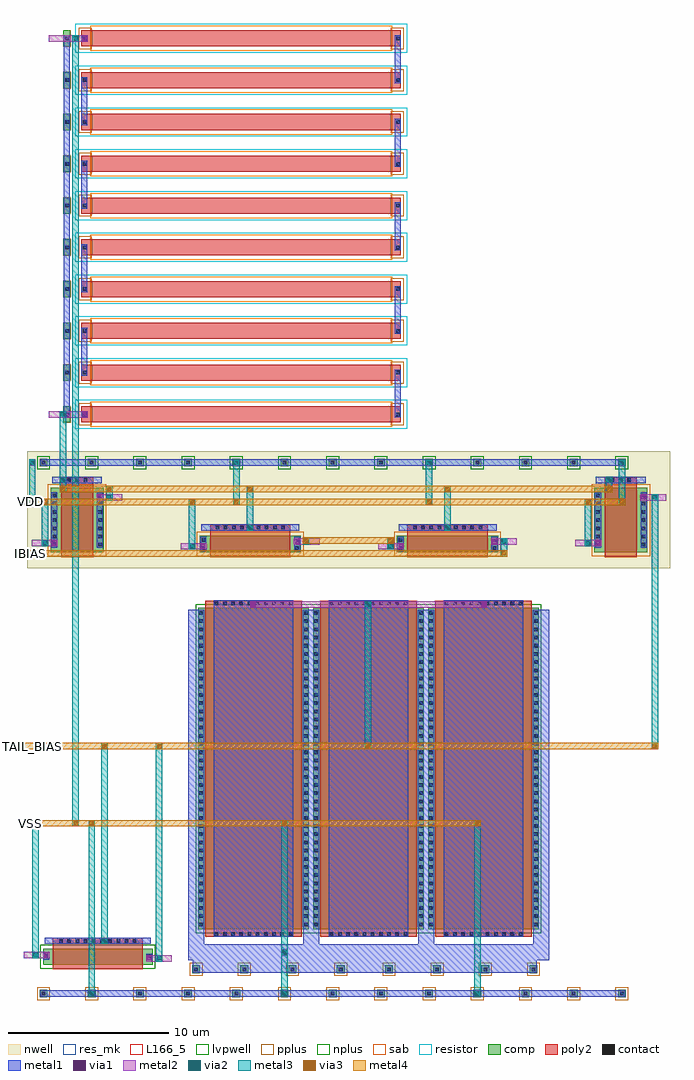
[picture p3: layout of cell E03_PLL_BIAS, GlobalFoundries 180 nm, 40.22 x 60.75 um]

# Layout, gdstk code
import gdstk
lib = gdstk.Library(unit=1e-6, precision=1e-09)
def R(c, l, rs):  # rectangles x0, y0, x1, y1
    for r in rs: c.add(gdstk.rectangle(r[:2], r[2:], *l))
def A(c, l, x, y, w, h, nx, ny, dx, dy):  # array of equal rectangles
    R(c, l, [(x+i*dx, y+j*dy, x+i*dx+w, y+j*dy+h) for i in range(nx) for j in range(ny)])
def P(c, l, *ps):  # polygons
    for p in ps: c.add(gdstk.Polygon(p, *l))
nwell = (21, 0)
comp = (22, 0)
poly2 = (30, 0)
pplus = (31, 0)
nplus = (32, 0)
contact = (33, 0)
metal1 = (34, 0)
via1 = (35, 0)
metal2 = (36, 0)
via2 = (38, 0)
via3 = (40, 0)
metal3 = (42, 0)
metal4 = (46, 0)
sab = (49, 0)
resistor = (62, 0)
res_mk = (110, 5)
L166_5 = (166, 5)
lvpwell = (204, 0)

e03_tap_sub_3 = lib.new_cell('E03_TAP_SUB$3')
R(e03_tap_sub_3, comp, [(-0.24,-0.24,0.24,0.24)])
R(e03_tap_sub_3, pplus, [(-0.4,-0.4,0.4,0.4)])
R(e03_tap_sub_3, contact, [(-0.11,-0.11,0.11,0.11)])
R(e03_tap_sub_3, metal1, [(-0.2,-0.2,0.2,0.2)])

e03_nfet_w1_l5p6_nf1_top = lib.new_cell('E03_NFET_W1_L5p6_NF1_top')
R(e03_nfet_w1_l5p6_nf1_top, comp, [(-0.42,0,6.4,1)])
R(e03_nfet_w1_l5p6_nf1_top, poly2, [(0.19,-0.3,5.79,1.66)])
R(e03_nfet_w1_l5p6_nf1_top, nplus, [(-0.59,-0.24,6.57,1.24)])
A(e03_nfet_w1_l5p6_nf1_top, contact, 0.585, 1.37, 0.22, 0.22, 10, 1, 0.51, 0)
R(e03_nfet_w1_l5p6_nf1_top, contact, [(-0.32,0.39,-0.1,0.61), (6.08,0.39,6.3,0.61)])
R(e03_nfet_w1_l5p6_nf1_top, metal1, [(-0.4,0.31,-0.02,0.69), (6,0.31,6.38,0.69), (0.505,1.29,5.475,1.67)])

e03_moscap_l6_w20 = lib.new_cell('E03_MOSCAP_L6_W20')
R(e03_moscap_l6_w20, comp, [(0,0,6.88,20)])
R(e03_moscap_l6_w20, poly2, [(0.44,-0.46,6.44,20.46)])
R(e03_moscap_l6_w20, nplus, [(-0.16,-0.23,7.04,20.23)])
A(e03_moscap_l6_w20, contact, 1.035, -0.39, 0.22, 0.22, 10, 2, 0.51, 20.56)
A(e03_moscap_l6_w20, contact, 0.07, 0.2, 0.22, 0.22, 1, 39, 0, 0.51)
A(e03_moscap_l6_w20, contact, 6.59, 0.2, 0.22, 0.22, 1, 39, 0, 0.51)
R(e03_moscap_l6_w20, metal1, [(0.955,-0.47,5.925,20.47)])
P(e03_moscap_l6_w20, metal1, [(-0.63,-1.94),(-0.63,19.88),(0.37,19.88),(0.37,-0.94),(6.53,-0.94),(6.53,0.12),(6.51,0.12),(6.51,19.88),(7.53,19.88),(7.53,-1.94)])
R(e03_moscap_l6_w20, L166_5, [(0,0,6.88,20)])
R(e03_moscap_l6_w20, lvpwell, [(0,0,6.88,20)])

e03_pfet_w4_l2_nf1_top = lib.new_cell('E03_PFET_W4_L2_NF1_top')
R(e03_pfet_w4_l2_nf1_top, nwell, [(-0.9,-0.44,3.28,4.44)])
R(e03_pfet_w4_l2_nf1_top, comp, [(-0.46,0,2.84,4)])
R(e03_pfet_w4_l2_nf1_top, poly2, [(0.19,-0.3,2.19,4.68)])
R(e03_pfet_w4_l2_nf1_top, pplus, [(-0.63,-0.24,3.01,4.24)])
A(e03_pfet_w4_l2_nf1_top, contact, -0.34, 0.36, 0.22, 0.22, 1, 7, 0, 0.51)
A(e03_pfet_w4_l2_nf1_top, contact, 2.5, 0.36, 0.22, 0.22, 1, 7, 0, 0.51)
A(e03_pfet_w4_l2_nf1_top, contact, 0.57, 4.38, 0.22, 0.22, 3, 1, 0.51, 0)
R(e03_pfet_w4_l2_nf1_top, metal1, [(-0.42,0.28,-0.04,3.72), (2.42,0.28,2.8,3.72), (0.49,4.3,1.89,4.68)])

e03_pfet_w1p04_l5_nf1_to = lib.new_cell('E03_PFET_W1p04_L5_NF1_top')
R(e03_pfet_w1p04_l5_nf1_to, nwell, [(-0.9,-0.44,6.28,1.48)])
R(e03_pfet_w1p04_l5_nf1_to, comp, [(-0.46,0,5.84,1.04)])
R(e03_pfet_w1p04_l5_nf1_to, poly2, [(0.19,-0.3,5.19,1.72)])
R(e03_pfet_w1p04_l5_nf1_to, pplus, [(-0.63,-0.24,6.01,1.28)])
A(e03_pfet_w1p04_l5_nf1_to, contact, 0.54, 1.42, 0.22, 0.22, 9, 1, 0.51, 0)
R(e03_pfet_w1p04_l5_nf1_to, contact, [(-0.34,0.155,-0.12,0.375), (5.5,0.155,5.72,0.375), (-0.34,0.665,-0.12,0.885), (5.5,0.665,5.72,0.885)])
R(e03_pfet_w1p04_l5_nf1_to, metal1, [(-0.42,0.075,-0.04,0.965), (5.42,0.075,5.8,0.965), (0.46,1.34,4.92,1.72)])

e03_tap_nw_2 = lib.new_cell('E03_TAP_NW$2')
R(e03_tap_nw_2, nwell, [(-0.5,-0.5,0.5,0.5)])
R(e03_tap_nw_2, comp, [(-0.24,-0.24,0.24,0.24)])
R(e03_tap_nw_2, nplus, [(-0.4,-0.4,0.4,0.4)])
R(e03_tap_nw_2, contact, [(-0.11,-0.11,0.11,0.11)])
R(e03_tap_nw_2, metal1, [(-0.2,-0.2,0.2,0.2)])

e03_rhr_w1_l18p6 = lib.new_cell('E03_RHR_W1_L18p6')
R(e03_rhr_w1_l18p6, comp, [(-1.76,0,-1.34,1)])
R(e03_rhr_w1_l18p6, poly2, [(-0.64,0,19.24,1)])
R(e03_rhr_w1_l18p6, pplus, [(-0.82,-0.18,0,1.18), (18.6,-0.18,19.42,1.18), (-1.78,-0.02,-1.32,1.02)])
R(e03_rhr_w1_l18p6, contact, [(-1.66,0.39,-1.44,0.61), (-0.57,0.39,-0.35,0.61), (18.95,0.39,19.17,0.61)])
R(e03_rhr_w1_l18p6, metal1, [(-1.74,0.31,-1.36,0.69), (-0.65,0.31,-0.27,0.69), (18.87,0.31,19.25,0.69)])
R(e03_rhr_w1_l18p6, sab, [(-0.1,-0.28,18.7,1.28)])
R(e03_rhr_w1_l18p6, resistor, [(-1.04,-0.4,19.64,1.4)])
R(e03_rhr_w1_l18p6, res_mk, [(0,0,18.6,1)])

e03_pll_bias = lib.new_cell('E03_PLL_BIAS')
R(e03_pll_bias, nwell, [(0,27.67,40,34.95)])
A(e03_pll_bias, metal1, 3.8, 1, 0.4, 0.4, 3, 1, 12, 0)
A(e03_pll_bias, metal1, 13.87, 25.22, 0.4, 0.4, 3, 1, 7.16, 0)
A(e03_pll_bias, metal1, 12.8, 34.05, 0.4, 0.4, 3, 1, 12, 0)
A(e03_pll_bias, metal1, 22.87, 37.06, 0.38, 2.98, 1, 5, 0, 5.2)
A(e03_pll_bias, metal1, 3.35, 39.66, 0.38, 2.98, 1, 4, 0, 5.2)
R(e03_pll_bias, metal1, [(0.8,1,37.2,1.4), (10.3,2.51,31.7,2.91), (10.3,2.71,31.7,3.31), (7.38,3.19,7.78,3.59), (0.98,3.41,1.38,3.81), (15.8,3.56,16.2,3.96), (1.07,4.29,7.69,4.69), (4.6,4.29,5,4.69), (10.75,28.845,11.15,29.245), (23.03,28.845,23.43,29.245), (1.47,29.05,1.87,29.45), (35.31,29.05,35.71,29.45), (16.59,29.135,16.99,29.535), (28.87,29.135,29.27,29.535), (10.82,30.01,16.92,30.41), (13.65,30.01,14.05,30.41), (23.1,30.01,29.2,30.41), (25.95,30.01,26.35,30.41), (4.31,31.89,4.71,32.29), (38.15,31.89,38.55,32.29), (1.54,32.97,4.64,33.37), (2,32.97,2.4,33.37), (35.38,32.97,38.48,33.37), (36,32.97,36.4,33.37), (0.1,34.05,0.5,34.45), (0.8,34.05,37.2,34.45), (2.26,37.06,2.64,60.84)])
A(e03_pll_bias, via1, 3.87, 1.07, 0.26, 0.26, 3, 1, 12, 0)
A(e03_pll_bias, via1, 13.94, 25.29, 0.26, 0.26, 3, 1, 7.16, 0)
A(e03_pll_bias, via1, 12.87, 34.12, 0.26, 0.26, 3, 1, 12, 0)
R(e03_pll_bias, via1, [(7.45,3.26,7.71,3.52), (1.05,3.48,1.31,3.74), (15.87,3.63,16.13,3.89), (4.67,4.36,4.93,4.62), (10.82,28.915,11.08,29.175), (23.1,28.915,23.36,29.175), (1.54,29.12,1.8,29.38), (35.38,29.12,35.64,29.38), (16.66,29.205,16.92,29.465), (28.94,29.205,29.2,29.465), (13.72,30.08,13.98,30.34), (26.02,30.08,26.28,30.34), (4.38,31.96,4.64,32.22), (38.22,31.96,38.48,32.22), (2.07,33.04,2.33,33.3), (36.07,33.04,36.33,33.3), (0.17,34.12,0.43,34.38), (3.41,37.12,3.67,37.38), (3.41,60.52,3.67,60.78)])
A(e03_pll_bias, metal2, 3.8, 1, 0.4, 0.4, 3, 1, 12, 0)
A(e03_pll_bias, metal2, 12.8, 34.05, 0.4, 0.4, 3, 1, 12, 0)
R(e03_pll_bias, metal2, [(7.38,3.19,8.98,3.59), (8,3.19,8.4,3.59), (-0.22,3.41,1.38,3.81), (0.3,3.41,0.7,3.81), (15.8,3.56,16.2,3.96), (4.6,4.29,5,4.69), (13.87,25.22,28.59,25.62), (21,25.22,21.4,25.62), (9.55,28.845,11.15,29.245), (10.05,28.845,10.45,29.245), (21.83,28.845,23.43,29.245), (22.4,28.845,22.8,29.245), (0.27,29.05,1.87,29.45), (0.9,29.05,1.3,29.45), (34.11,29.05,35.71,29.45), (34.7,29.05,35.1,29.45), (16.59,29.135,18.19,29.535), (17.15,29.135,17.55,29.535), (28.87,29.135,30.47,29.535), (29.45,29.135,29.85,29.535), (13.65,30.01,14.05,30.41), (25.95,30.01,26.35,30.41), (4.31,31.89,5.91,32.29), (4.9,31.89,5.3,32.29), (38.15,31.89,39.75,32.29), (38.85,31.89,39.25,32.29), (2,32.97,2.4,33.37), (36,32.97,36.4,33.37), (0.1,34.05,0.5,34.45), (1.34,37.05,3.74,37.45), (2,37.05,2.4,37.45), (1.34,60.45,3.74,60.85), (2.8,60.45,3.2,60.85)])
A(e03_pll_bias, via2, 3.87, 1.07, 0.26, 0.26, 3, 1, 12, 0)
A(e03_pll_bias, via2, 12.87, 34.12, 0.26, 0.26, 3, 1, 12, 0)
R(e03_pll_bias, via2, [(8.07,3.26,8.33,3.52), (0.37,3.48,0.63,3.74), (15.87,3.63,16.13,3.89), (4.67,4.36,4.93,4.62), (21.07,25.29,21.33,25.55), (10.12,28.915,10.38,29.175), (22.47,28.915,22.73,29.175), (0.97,29.12,1.23,29.38), (34.77,29.12,35.03,29.38), (17.22,29.205,17.48,29.465), (29.52,29.205,29.78,29.465), (13.72,30.08,13.98,30.34), (26.02,30.08,26.28,30.34), (4.97,31.96,5.23,32.22), (38.92,31.96,39.18,32.22), (2.07,33.04,2.33,33.3), (36.07,33.04,36.33,33.3), (0.17,34.12,0.43,34.38), (2.07,37.12,2.33,37.38), (2.87,60.52,3.13,60.78)])
R(e03_pll_bias, via3, [(0.37,11.67,0.63,11.93), (2.87,11.67,3.13,11.93), (3.87,11.67,4.13,11.93), (15.87,11.67,16.13,11.93), (15.87,11.67,16.13,11.93), (27.87,11.67,28.13,11.93), (4.67,16.47,4.93,16.73), (8.07,16.47,8.33,16.73), (21.07,16.47,21.33,16.73), (38.92,16.47,39.18,16.73), (29.52,28.47,29.78,28.73), (17.22,29.27,17.48,29.53), (22.47,29.27,22.73,29.53), (0.17,31.67,0.43,31.93), (0.97,31.67,1.23,31.93), (10.12,31.67,10.38,31.93), (12.87,31.67,13.13,31.93), (24.87,31.67,25.13,31.93), (34.77,31.67,35.03,31.93), (36.87,31.67,37.13,31.93), (2.07,32.47,2.33,32.73), (2.07,32.47,2.33,32.73), (4.97,32.47,5.23,32.73), (13.72,32.47,13.98,32.73), (26.02,32.47,26.28,32.73), (36.07,32.47,36.33,32.73)])
A(e03_pll_bias, metal3, 3.8, 1, 0.4, 0.4, 3, 1, 12, 0)
A(e03_pll_bias, metal3, 3.8, 1, 0.4, 11, 3, 1, 12, 0)
A(e03_pll_bias, metal3, 12.8, 31.6, 0.4, 2.85, 3, 1, 12, 0)
A(e03_pll_bias, metal3, 12.8, 34.05, 0.4, 0.4, 3, 1, 12, 0)
R(e03_pll_bias, metal3, [(8,3.19,8.4,3.59), (8,3.19,8.4,16.8), (0.3,3.41,0.7,3.81), (0.3,3.41,0.7,12), (15.8,3.56,16.2,3.96), (15.8,3.56,16.2,12), (4.6,4.29,5,4.69), (4.6,4.29,5,16.8), (0.3,11.6,0.7,12), (2.8,11.6,3.2,12), (2.8,11.6,3.2,60.85), (3.8,11.6,4.2,12), (15.8,11.6,16.2,12), (15.8,11.6,16.2,12), (27.8,11.6,28.2,12), (4.6,16.4,5,16.8), (8,16.4,8.4,16.8), (21,16.4,21.4,16.8), (21,16.4,21.4,25.62), (38.85,16.4,39.25,16.8), (38.85,16.4,39.25,32.29), (21,25.22,21.4,25.62), (29.45,28.4,29.85,28.8), (29.45,28.4,29.85,29.535), (10.05,28.845,10.45,29.245), (10.05,28.845,10.45,32), (22.4,28.845,22.8,29.245), (22.4,28.845,22.8,29.6), (0.9,29.05,1.3,29.45), (0.9,29.05,1.3,32), (34.7,29.05,35.1,29.45), (34.7,29.05,35.1,32), (17.15,29.135,17.55,29.535), (17.15,29.135,17.55,29.6), (29.45,29.135,29.85,29.535), (17.15,29.2,17.55,29.6), (22.4,29.2,22.8,29.6), (13.65,30.01,14.05,30.41), (13.65,30.01,14.05,32.8), (25.95,30.01,26.35,30.41), (25.95,30.01,26.35,32.8), (0.1,31.6,0.5,32), (0.1,31.6,0.5,34.45), (0.9,31.6,1.3,32), (10.05,31.6,10.45,32), (12.8,31.6,13.2,32), (24.8,31.6,25.2,32), (34.7,31.6,35.1,32), (36.8,31.6,37.2,32), (4.9,31.89,5.3,32.29), (4.9,31.89,5.3,32.8), (38.85,31.89,39.25,32.29), (2,32.4,2.4,32.8), (2,32.4,2.4,32.8), (2,32.4,2.4,33.37), (2,32.4,2.4,37.45), (4.9,32.4,5.3,32.8), (13.65,32.4,14.05,32.8), (25.95,32.4,26.35,32.8), (36,32.4,36.4,32.8), (36,32.4,36.4,33.37), (2,32.97,2.4,33.37), (36,32.97,36.4,33.37), (0.1,34.05,0.5,34.45), (2,37.05,2.4,37.45), (2.8,60.45,3.2,60.85)])
R(e03_pll_bias, metal4, [(-0.2,11.6,28.2,12), (0.3,11.6,0.7,12), (2.8,11.6,3.2,12), (3.8,11.6,4.2,12), (15.8,11.6,16.2,12), (15.8,11.6,16.2,12), (27.8,11.6,28.2,12), (-0.2,16.4,39.25,16.8), (4.6,16.4,5,16.8), (8,16.4,8.4,16.8), (21,16.4,21.4,16.8), (38.85,16.4,39.25,16.8), (-0.2,28.4,29.85,28.8), (29.45,28.4,29.85,28.8), (17.15,29.2,17.55,29.6), (17.15,29.2,22.8,29.6), (22.4,29.2,22.8,29.6), (-0.2,31.6,37.2,32), (0.1,31.6,0.5,32), (0.9,31.6,1.3,32), (10.05,31.6,10.45,32), (12.8,31.6,13.2,32), (24.8,31.6,25.2,32), (34.7,31.6,35.1,32), (36.8,31.6,37.2,32), (2,32.4,2.4,32.8), (2,32.4,2.4,32.8), (2,32.4,36.4,32.8), (4.9,32.4,5.3,32.8), (13.65,32.4,14.05,32.8), (25.95,32.4,26.35,32.8), (36,32.4,36.4,32.8)])
e03_pll_bias.add(gdstk.Reference(e03_tap_sub_3, (1,1.2)))
e03_pll_bias.add(gdstk.Reference(e03_tap_sub_3, (4,1.2)))
e03_pll_bias.add(gdstk.Reference(e03_tap_sub_3, (7,1.2)))
e03_pll_bias.add(gdstk.Reference(e03_tap_sub_3, (10,1.2)))
e03_pll_bias.add(gdstk.Reference(e03_tap_sub_3, (13,1.2)))
e03_pll_bias.add(gdstk.Reference(e03_tap_sub_3, (16,1.2)))
e03_pll_bias.add(gdstk.Reference(e03_tap_sub_3, (19,1.2)))
e03_pll_bias.add(gdstk.Reference(e03_tap_sub_3, (22,1.2)))
e03_pll_bias.add(gdstk.Reference(e03_tap_sub_3, (25,1.2)))
e03_pll_bias.add(gdstk.Reference(e03_tap_sub_3, (28,1.2)))
e03_pll_bias.add(gdstk.Reference(e03_tap_sub_3, (31,1.2)))
e03_pll_bias.add(gdstk.Reference(e03_tap_sub_3, (34,1.2)))
e03_pll_bias.add(gdstk.Reference(e03_tap_sub_3, (37,1.2)))
e03_pll_bias.add(gdstk.Reference(e03_nfet_w1_l5p6_nf1_top, (1.39,3)))
e03_pll_bias.add(gdstk.Reference(e03_moscap_l6_w20, (10.63,5.2)))
e03_pll_bias.add(gdstk.Reference(e03_moscap_l6_w20, (17.79,5.2)))
e03_pll_bias.add(gdstk.Reference(e03_moscap_l6_w20, (24.95,5.2)))
e03_pll_bias.add(gdstk.Reference(e03_tap_sub_3, (10.5,2.71)))
e03_pll_bias.add(gdstk.Reference(e03_tap_sub_3, (13.5,2.71)))
e03_pll_bias.add(gdstk.Reference(e03_tap_sub_3, (16.5,2.71)))
e03_pll_bias.add(gdstk.Reference(e03_tap_sub_3, (19.5,2.71)))
e03_pll_bias.add(gdstk.Reference(e03_tap_sub_3, (22.5,2.71)))
e03_pll_bias.add(gdstk.Reference(e03_tap_sub_3, (25.5,2.71)))
e03_pll_bias.add(gdstk.Reference(e03_tap_sub_3, (28.5,2.71)))
e03_pll_bias.add(gdstk.Reference(e03_tap_sub_3, (31.5,2.71)))
e03_pll_bias.add(gdstk.Reference(e03_pfet_w4_l2_nf1_top, (1.9,28.67)))
e03_pll_bias.add(gdstk.Reference(e03_pfet_w1p04_l5_nf1_to, (11.18,28.67)))
e03_pll_bias.add(gdstk.Reference(e03_pfet_w1p04_l5_nf1_to, (23.46,28.67)))
e03_pll_bias.add(gdstk.Reference(e03_pfet_w4_l2_nf1_top, (35.74,28.67)))
e03_pll_bias.add(gdstk.Reference(e03_tap_nw_2, (1,34.25)))
e03_pll_bias.add(gdstk.Reference(e03_tap_nw_2, (4,34.25)))
e03_pll_bias.add(gdstk.Reference(e03_tap_nw_2, (7,34.25)))
e03_pll_bias.add(gdstk.Reference(e03_tap_nw_2, (10,34.25)))
e03_pll_bias.add(gdstk.Reference(e03_tap_nw_2, (13,34.25)))
e03_pll_bias.add(gdstk.Reference(e03_tap_nw_2, (16,34.25)))
e03_pll_bias.add(gdstk.Reference(e03_tap_nw_2, (19,34.25)))
e03_pll_bias.add(gdstk.Reference(e03_tap_nw_2, (22,34.25)))
e03_pll_bias.add(gdstk.Reference(e03_tap_nw_2, (25,34.25)))
e03_pll_bias.add(gdstk.Reference(e03_tap_nw_2, (28,34.25)))
e03_pll_bias.add(gdstk.Reference(e03_tap_nw_2, (31,34.25)))
e03_pll_bias.add(gdstk.Reference(e03_tap_nw_2, (34,34.25)))
e03_pll_bias.add(gdstk.Reference(e03_tap_nw_2, (37,34.25)))
e03_pll_bias.add(gdstk.Reference(e03_rhr_w1_l18p6, (4,36.75)))
e03_pll_bias.add(gdstk.Reference(e03_rhr_w1_l18p6, (4,39.35)))
e03_pll_bias.add(gdstk.Reference(e03_rhr_w1_l18p6, (4,41.95)))
e03_pll_bias.add(gdstk.Reference(e03_rhr_w1_l18p6, (4,44.55)))
e03_pll_bias.add(gdstk.Reference(e03_rhr_w1_l18p6, (4,47.15)))
e03_pll_bias.add(gdstk.Reference(e03_rhr_w1_l18p6, (4,49.75)))
e03_pll_bias.add(gdstk.Reference(e03_rhr_w1_l18p6, (4,52.35)))
e03_pll_bias.add(gdstk.Reference(e03_rhr_w1_l18p6, (4,54.95)))
e03_pll_bias.add(gdstk.Reference(e03_rhr_w1_l18p6, (4,57.55)))
e03_pll_bias.add(gdstk.Reference(e03_rhr_w1_l18p6, (4,60.15)))
e03_pll_bias.add(gdstk.Label('VDD', (0.2,31.8), layer=46, texttype=10))
e03_pll_bias.add(gdstk.Label('VSS', (0.2,11.8), layer=46, texttype=10))
e03_pll_bias.add(gdstk.Label('IBIAS', (0.2,28.6), layer=46, texttype=10))
e03_pll_bias.add(gdstk.Label('TAIL_BIAS', (0.2,16.6), layer=46, texttype=10))

lib.write_gds('E03_PLL_BIAS.gds')
